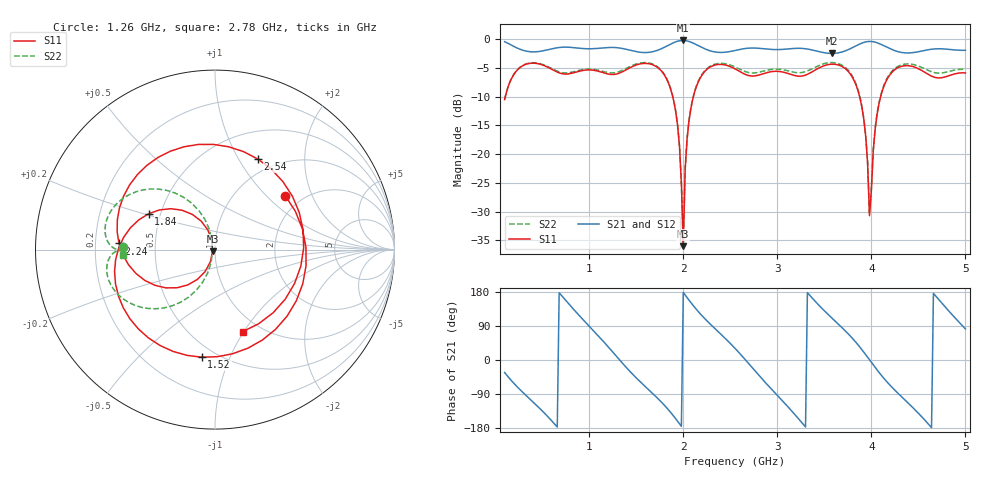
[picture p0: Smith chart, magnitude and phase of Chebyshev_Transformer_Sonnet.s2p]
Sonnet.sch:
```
<Qucs Schematic 25.1.2>
<Properties>
  <View=139,195,585,446,3.5259,0,0>
  <Grid=10,10,1>
  <DataSet=Sonnet.dat>
  <DataDisplay=Sonnet.dpl>
  <OpenDisplay=0>
  <Script=Sonnet.m>
  <RunScript=0>
  <showFrame=0>
  <FrameText0=Title>
  <FrameText1=Drawn By:>
  <FrameText2=Date:>
  <FrameText3=Revision:>
</Properties>
<Symbol>
  <.ID -20 14 SUB>
  <.PortSym -150 0 1 0 P1>
  <.PortSym 160 0 2 180 P2>
  <Text -60 -70 11 #000000 0 "Sonnet (S-par file)">
  <Rectangle -120 -10 80 20 #000000 1 1 #ffaa00 1 1>
  <Rectangle -40 -20 80 40 #000000 1 1 #ffaa00 1 1>
  <Rectangle 40 -40 90 70 #000000 1 1 #ffaa00 1 1>
  <Line -150 0 30 0 #000000 1 1>
  <Line 130 0 30 0 #000000 1 1>
  <Text -110 -10 15 #000000 0 "41.3 Ω">
  <Text -30 -10 15 #000000 0 "27.4 Ω">
  <Text 60 -10 15 #000000 0 "18.2 Ω">
  <Text -170 -50 15 #000000 0 "50 Ω">
  <Text 140 -50 15 #000000 0 "15 Ω">
</Symbol>
<Components>
  <GND * 1 290 350 0 0 0 0>
  <Port P1 1 210 360 -23 12 0 0 "1" 1 "analog" 0>
  <Port P2 1 370 360 4 -46 0 2 "2" 1 "analog" 0>
  <SPfile X1 1 290 290 -26 -55 0 0 "Chebyshev_Transformer_Sonnet.s2p" 1 "rectangular" 0 "linear" 0 "open" 0 "2" 0>
</Components>
<Wires>
  <210 350 260 350 "" 0 0 0 "">
  <320 350 370 350 "" 0 0 0 "">
  <370 350 370 360 "" 0 0 0 "">
  <210 350 210 360 "" 0 0 0 "">
  <320 290 320 350 "" 0 0 0 "">
  <290 320 290 350 "" 0 0 0 "">
  <260 290 260 350 "" 0 0 0 "">
</Wires>
<Diagrams>
</Diagrams>
<Paintings>
</Paintings>
```
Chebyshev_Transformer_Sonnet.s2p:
! Sonnet Data File
! From: em Version : 18.53-Lite
! From Project: Transformer
! Data is De-embedded
! Data File Written: 06/29/2025 10:10:49
!< HDATE 06/29/2025 10:08:25
!< MDATE 06/29/2025 10:08:25
!< PARAMS
!< L1 = 44.38
!< L2 = 43.33
!< L3 = 42.439520085625
!< W1 = 1.57
!< W2 = 2.7
!< W3 = 4.4
!< END PARAMS
# GHZ S MA R 50.00000
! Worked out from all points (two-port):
!   246 points, 100 MHz to 5 GHz, reference 50 ohm
!   highest |S21| = -0.22 dB at 2 GHz (marker M1); lowest = -2.5 dB at 3.58 GHz (marker M2)
!   |S21| within 3 dB of the highest: start of sweep to end of sweep
!   lowest |S11| = -36.0 dB at 2 GHz (marker M3), VSWR 1.03, Z = 48.7 - j0.855 ohm
!   |S11| at or under -10 dB: start of sweep to 107.7 MHz; 1.888 GHz to 2.107 GHz (219.9 MHz wide, 11 % of centre); 3.875 GHz to 4.099 GHz (223.6 MHz wide, 5.61 % of centre)
!   |S22| runs from -35.7 to -4.1 dB; largest |S21 - S12| = 4.3e-12
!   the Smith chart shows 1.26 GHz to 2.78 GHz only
!   S11 on the Smith chart (normalised r, x): 1.26 GHz: 1.64, +1.31; 1.52 GHz: 0.42, -0.79; 1.84 GHz: 0.43, +0.21; 2.24 GHz: 0.30, +0.03; 2.54 GHz: 0.83, +1.21; 2.78 GHz: 0.83, -0.99
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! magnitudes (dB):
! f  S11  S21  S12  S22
! 100 MHz  -10.5  -0.4  -0.4  -10.5
! 1.26 GHz  -6.1  -1.4  -1.4  -5.8
! 1.52 GHz  -4.4  -2.2  -2.2  -4.2
! 1.84 GHz  -7.5  -1.1  -1.1  -7.4
! 2 GHz  -36.0  -0.2  -0.2  -35.7
! 2.24 GHz  -5.4  -1.7  -1.7  -5.3
! 2.54 GHz  -5.1  -2.0  -2.0  -4.7
! 2.56 GHz  -5.2  -1.9  -1.9  -4.9
! 2.78 GHz  -6.3  -1.6  -1.6  -5.8
! 3.58 GHz  -4.3  -2.5  -2.5  -4.1
! 5 GHz  -5.9  -1.9  -1.9  -5.2
